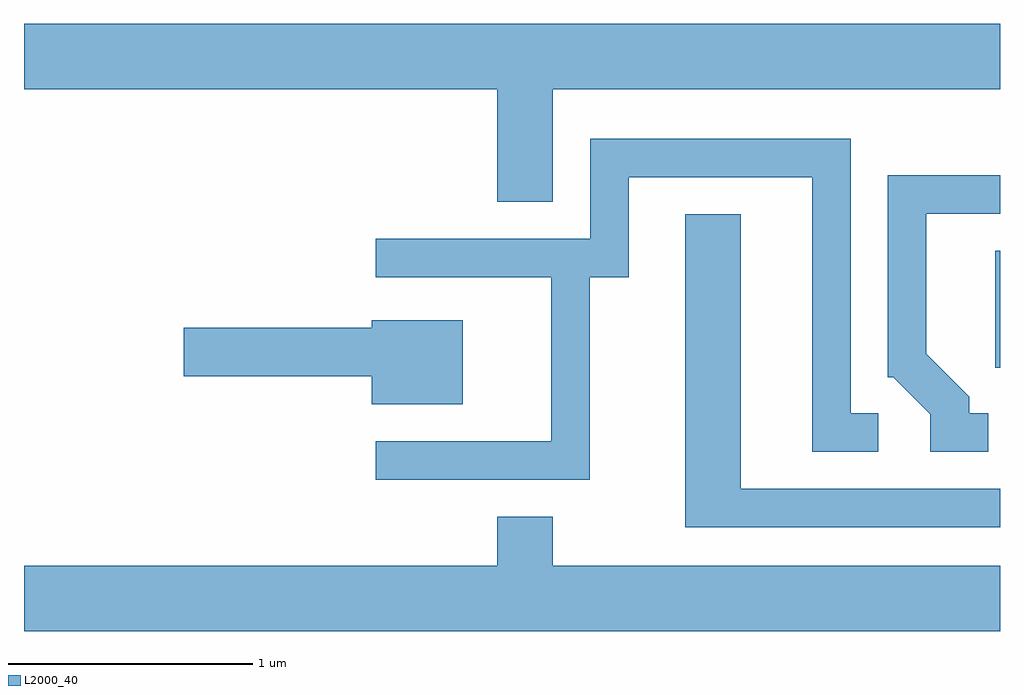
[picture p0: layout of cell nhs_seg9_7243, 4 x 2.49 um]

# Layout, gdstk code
import gdstk
lib = gdstk.Library(unit=1e-6, precision=1e-09)
def R(c, l, rs):  # rectangles x0, y0, x1, y1
    for r in rs: c.add(gdstk.rectangle(r[:2], r[2:], *l))
def P(c, l, *ps):  # polygons
    for p in ps: c.add(gdstk.Polygon(p, *l))
L2000_40 = (2000, 40)

nhs_seg9_7243 = lib.new_cell('nhs_seg9_7243')
R(nhs_seg9_7243, L2000_40, [(403.591,2006.216,403.611,2006.694)])
P(nhs_seg9_7243, L2000_40, [(401.779,2007.356),(403.611,2007.356),(403.611,2007.624),(399.611,2007.624),(399.611,2007.356),(401.551,2007.356),(401.551,2006.896),(401.779,2006.896)],
  [(401.929,2006.586),(402.089,2006.586),(402.089,2006.996),(402.841,2006.996),(402.841,2005.871),(403.113,2005.871),(403.113,2006.029),(402.999,2006.029),(402.999,2007.154),(401.931,2007.154),(401.931,2006.744),(401.053,2006.744),(401.053,2006.586),(401.771,2006.586),(401.771,2005.914),(401.053,2005.914),(401.053,2005.756),(401.929,2005.756)],
  [(403.563,2006.029),(403.484,2006.029),(403.484,2006.097),(403.309,2006.272),(403.309,2006.846),(403.611,2006.846),(403.611,2007.004),(403.151,2007.004),(403.151,2006.176),(403.174,2006.176),(403.326,2006.024),(403.326,2005.871),(403.563,2005.871)],
  [(403.611,2005.719),(402.549,2005.719),(402.549,2006.844),(402.321,2006.844),(402.321,2005.561),(403.611,2005.561)],
  [(401.409,2006.409),(401.036,2006.409),(401.036,2006.379),(400.266,2006.379),(400.266,2006.181),(401.036,2006.181),(401.036,2006.066),(401.409,2006.066)],
  [(403.611,2005.404),(401.779,2005.404),(401.779,2005.604),(401.551,2005.604),(401.551,2005.404),(399.611,2005.404),(399.611,2005.136),(403.611,2005.136)])

lib.write_gds('nhs_seg9_7243.gds')
